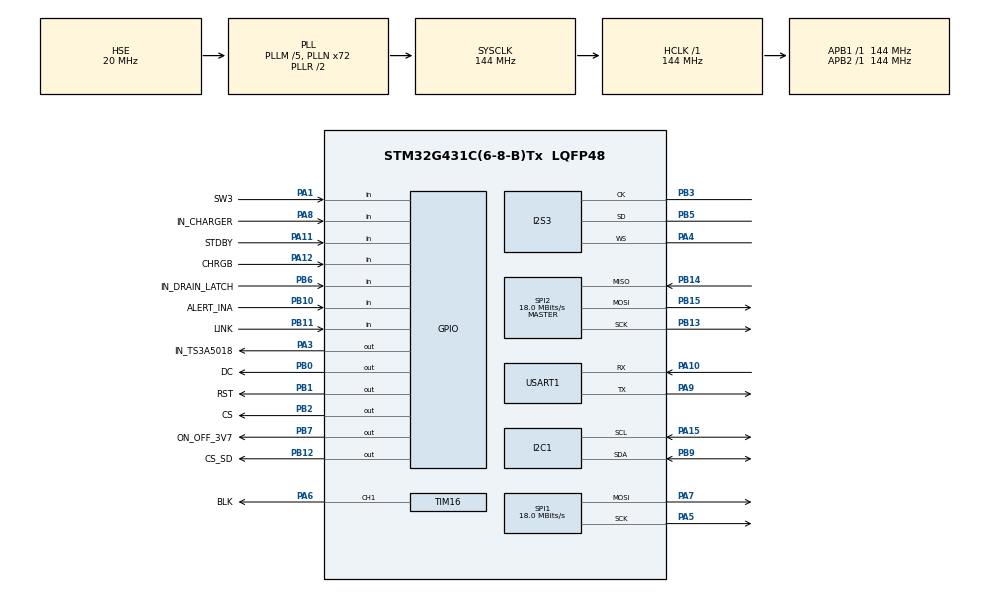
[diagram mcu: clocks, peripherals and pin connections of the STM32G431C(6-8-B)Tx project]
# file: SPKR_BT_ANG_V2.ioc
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FATFS._MAX_SS=4096
FATFS._USE_LFN=1
I2C1.Timing=0x20B0D9FF
I2S3.AudioFreq=I2S_AUDIOFREQ_44K
I2S3.ErrorAudioFreq=0.26 %
I2S3.FullDuplexMode=I2S_FULLDUPLEXMODE_DISABLE
I2S3.Instance=SPI$Index
I2S3.RealAudioFreq=44.117 KHz
I2S3.VirtualMode=I2S_MODE_MASTER
Mcu.Family=STM32G4
Mcu.Name=STM32G431C(6-8-B)Tx
Mcu.Package=LQFP48
NVIC.PriorityGroup=NVIC_PRIORITYGROUP_4
PA0.Mode=SYS_WakeUp0
PA0.Signal=SYS_WKUP1
PA1.GPIO_Label=SW3
PA1.Signal=GPIO_Input
PA10.Mode=Asynchronous
PA10.Signal=USART1_RX
PA11.GPIO_Label=STDBY
PA11.Signal=GPIO_Input
PA12.GPIO_Label=CHRGB
PA12.Signal=GPIO_Input
PA13.Mode=Serial_Wire
PA13.Signal=SYS_JTMS-SWDIO
PA14.Mode=Serial_Wire
PA14.Signal=SYS_JTCK-SWCLK
PA15.Mode=I2C
PA15.Signal=I2C1_SCL
PA2.Mode=SYS_WakeUp3
PA2.Signal=SYS_WKUP4
PA3.GPIO_Label=IN_TS3A5018
PA3.Signal=GPIO_Output
PA4.Mode=Half_Duplex_Master
PA4.Signal=I2S3_WS
PA5.Mode=TX_Only_Simplex_Unidirect_Master
PA5.Signal=SPI1_SCK
PA6.GPIO_Label=BLK
PA6.Signal=S_TIM16_CH1
PA7.Mode=TX_Only_Simplex_Unidirect_Master
PA7.Signal=SPI1_MOSI
PA8.GPIO_Label=IN_CHARGER
PA8.Signal=GPIO_Input
PA9.Mode=Asynchronous
PA9.Signal=USART1_TX
PB0.GPIO_Label=DC
PB0.GPIO_Speed=GPIO_SPEED_FREQ_VERY_HIGH
PB0.Signal=GPIO_Output
PB1.GPIO_Label=RST
PB1.GPIO_Speed=GPIO_SPEED_FREQ_VERY_HIGH
PB1.Signal=GPIO_Output
PB10.GPIO_Label=ALERT_INA
PB10.GPIO_PuPd=GPIO_PULLUP
PB10.Signal=GPIO_Input
PB11.GPIO_Label=LINK
PB11.Signal=GPIO_Input
PB12.GPIO_Label=CS_SD
PB12.Signal=GPIO_Output
PB13.Mode=Full_Duplex_Master
PB13.Signal=SPI2_SCK
PB14.Mode=Full_Duplex_Master
PB14.Signal=SPI2_MISO
PB15.Mode=Full_Duplex_Master
PB15.Signal=SPI2_MOSI
PB2.GPIO_Label=CS
PB2.GPIO_Speed=GPIO_SPEED_FREQ_VERY_HIGH
PB2.PinState=GPIO_PIN_SET
PB2.Signal=GPIO_Output
PB3.Mode=Half_Duplex_Master
PB3.Signal=I2S3_CK
PB5.Mode=Half_Duplex_Master
PB5.Signal=I2S3_SD
PB6.GPIO_Label=IN_DRAIN_LATCH
PB6.Signal=GPIO_Input
PB7.GPIO_Label=ON_OFF_3V7
PB7.Signal=GPIO_Output
PB9.Mode=I2C
PB9.Signal=I2C1_SDA
PC13.Mode=SYS_WakeUp1
PC13.Signal=SYS_WKUP2
PF0-OSC_IN.Mode=HSE-External-Oscillator
PF0-OSC_IN.Signal=RCC_OSC_IN
PF1-OSC_OUT.Mode=HSE-External-Oscillator
PF1-OSC_OUT.Signal=RCC_OSC_OUT
ProjectManager.HeapSize=0x200
ProjectManager.StackSize=0x400
ProjectManager.TargetToolchain=STM32CubeIDE
RCC.ADC12Freq_Value=144000000
RCC.AHBFreq_Value=144000000
RCC.APB1Freq_Value=144000000
RCC.APB1TimFreq_Value=144000000
RCC.APB2Freq_Value=144000000
RCC.APB2TimFreq_Value=144000000
RCC.CortexFreq_Value=144000000
RCC.EXTERNAL_CLOCK_VALUE=12288000
RCC.HCLKFreq_Value=144000000
RCC.HSE_VALUE=20000000
RCC.HSI48_VALUE=48000000
RCC.HSI_VALUE=16000000
RCC.LSE_VALUE=32768
RCC.PLLM=RCC_PLLM_DIV5
RCC.PLLN=72
RCC.PLLSourceVirtual=RCC_PLLSOURCE_HSE
RCC.SYSCLKFreq_VALUE=144000000
RCC.SYSCLKSource=RCC_SYSCLKSOURCE_PLLCLK
RCC.USBFreq_Value=144000000
RCC.VCOOutputFreq_Value=288000000
SH.S_TIM16_CH1.0=TIM16_CH1,PWM Generation1 CH1
SPI1.BaudRatePrescaler=SPI_BAUDRATEPRESCALER_8
SPI1.CLKPhase=SPI_PHASE_2EDGE
SPI1.CLKPolarity=SPI_POLARITY_HIGH
SPI1.CalculateBaudRate=18.0 MBits/s
SPI1.DataSize=SPI_DATASIZE_8BIT
SPI1.Direction=SPI_DIRECTION_2LINES
SPI1.Mode=SPI_MODE_MASTER
SPI1.VirtualType=VM_MASTER
SPI2.BaudRatePrescaler=SPI_BAUDRATEPRESCALER_8
SPI2.CalculateBaudRate=18.0 MBits/s
SPI2.DataSize=SPI_DATASIZE_8BIT
SPI2.Direction=SPI_DIRECTION_2LINES
SPI2.Mode=SPI_MODE_MASTER
SPI2.VirtualType=VM_MASTER
TIM16.Channel=TIM_CHANNEL_1
TIM16.Prescaler=170-1
USART1.VirtualMode-Asynchronous=VM_ASYNC
VP_FATFS_VS_Generic.Mode=User_defined
VP_TIM16_VS_ClockSourceINT.Mode=Enable_Timer
board=custom

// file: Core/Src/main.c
/* USER CODE BEGIN Header */
/**
  ******************************************************************************
  * @file           : main.c
  * @brief          : Main program body
  ******************************************************************************
  * @attention
  *
  * Copyright (c) 2024 STMicroelectronics.
  * All rights reserved.
  *
  * This software is licensed under terms that can be found in the LICENSE file
  * in the root directory of this software component.
  * If no LICENSE file comes with this software, it is provided AS-IS.
  *
  ******************************************************************************
  */
/* USER CODE END Header */
#include "main.h"
#include "app_fatfs.h"

/* USER CODE BEGIN Includes */
#include "stdio.h"
#include "Anglas_ST7789.h"
#include "fonts.h"
#include "math.h"
#include "bitmap.h"

#include "Anglas_MAX17048.h"
#include "Anglas_INA226.h"

#include "testimg.h"
#include "fatfs_sd.h"
/* USER CODE END Includes */

I2C_HandleTypeDef hi2c1;

I2S_HandleTypeDef hi2s3;

SPI_HandleTypeDef hspi1;
SPI_HandleTypeDef hspi2;

TIM_HandleTypeDef htim16;

UART_HandleTypeDef huart1;

/* USER CODE BEGIN PV */
uint16_t contInt=0;
float contFloat=0.0;
char buff[64];
uint16_t freq_BLK = 5000;//5khz

float soc, voltage_pwrbank, current_pwrbank, voltage_bat;

/* USER CODE END PV */

void SystemClock_Config(void);
static void MX_GPIO_Init(void);
static void MX_I2C1_Init(void);
static void MX_SPI1_Init(void);
static void MX_TIM16_Init(void);
static void MX_SPI2_Init(void);
static void MX_I2S3_Init(void);
static void MX_USART1_UART_Init(void);
/* USER CODE BEGIN PFP */
void PWM_set_Freq_DutyCycle(uint16_t freq, uint8_t duty);

/* USER CODE END PFP */

/* USER CODE BEGIN 0 */
FATFS fs;  // file system
FIL file; // File
FILINFO fno;
FRESULT fresult;  // result
UINT br, bw;  // File read/write count

/**** capacity related *****/
FATFS *pfs;
DWORD fre_clust;
uint32_t total, free_space;
char buffer[100];
uint16_t farbe;

#define SPIbuffSize 264
#define BUFFER_SIZE 1032
#define BITMAP_HEADER_SIZE sizeof(BmpHeader)
#define MIN(a, b) (((a)<(b))?(a): (b))

int displayImage(const char* fname) {
    FIL file;
    FRESULT res = f_open(&file, fname, FA_READ);
    if(res != FR_OK) {
    	ST7789_print(0, 0, RGB565(0, 0, 255) , RGB565(255, 255, 255) , 1, &Font_11x18, 1, "f_open() failed");
        return -1;
    }

    //ST7789_print(0, 20, RGB565(0, 0, 255) , RGB565(255, 255, 255) , 1, &Font_11x18, 1, "File opened, reading...");

    unsigned int bytesRead;
    uint8_t header[34];
    res = f_read(&file, header, sizeof(header), &bytesRead);
    if(res != FR_OK) {
    	 ST7789_print(0, 40, RGB565(0, 0, 255) , RGB565(255, 255, 255) , 1, &Font_11x18, 1, "f_read() failed");
        f_close(&file);
        return -2;
    }

    if((header[0] != 0x42) || (header[1] != 0x4D)) {
    	ST7789_print(0, 60, RGB565(0, 0, 255) , RGB565(255, 255, 255) , 1, &Font_11x18, 1, "Wrong BMP signature: 0x%02X 0x%02X");
        f_close(&file);
        return -3;
    }

    uint32_t imageOffset = header[10] | (header[11] << 8) | (header[12] << 16) | (header[13] << 24);
    uint32_t imageWidth = header[18] | (header[19] << 8) | (header[20] << 16) | (header[21] << 24);
    uint32_t imageHeight = header[22] | (header[23] << 8) | (header[24] << 16) | (header[25] << 24);
    uint16_t imagePlanes = header[26] | (header[27] << 8);
    uint16_t imageBitsPerPixel = header[28] | (header[29] << 8);
    uint32_t imageCompression = header[30] | (header[31] << 8) | (header[32] << 16) | (header[33] << 24);

    //snprintf(buff, sizeof(buff), "Pixels offset: %lu\r\n ", imageOffset);
    //ST7789_print(0, 50, RGB565(0, 0, 255) , RGB565(255, 255, 255) , 1, &Font_11x18, 1, buff);
    //snprintf(buff, sizeof(buff), "WxH: %lux%lu\r\n ", imageWidth, imageHeight);
    //ST7789_print(0, 70, RGB565(0, 0, 255) , RGB565(255, 255, 255) , 1, &Font_11x18, 1, buff);
    //snprintf(buff, sizeof(buff), "Planes: %d\r\n ", imagePlanes);
    //ST7789_print(0, 90, RGB565(0, 0, 255) , RGB565(255, 255, 255) , 1, &Font_11x18, 1, buff);
    //snprintf(buff, sizeof(buff), "Bits per pixel: %d\r\n ", imageBitsPerPixel);
    //ST7789_print(0, 110, RGB565(0, 0, 255) , RGB565(255, 255, 255) , 1, &Font_11x18, 1, buff);
    //snprintf(buff, sizeof(buff), "Compression: %lu\r\n ", imageCompression);
    //ST7789_print(0, 130, RGB565(0, 0, 255) , RGB565(255, 255, 255) , 1, &Font_11x18, 1, buff);

    if((imageWidth != ST7789_HEIGHT) || (imageHeight != ST7789_WIDTH)) {
    	//UART_Printf("Wrong BMP size, %dx%d expected\r\n", ST7735_WIDTH, ST7735_HEIGHT);
    	ST7789_print(0, 60, RGB565(0, 0, 255) , RGB565(255, 255, 255) , 1, &Font_11x18, 1, "Wrong BMP size, %dx%d expected");
        f_close(&file);
        return -4;
    }

    if((imagePlanes != 1) || (imageBitsPerPixel != 24) || (imageCompression != 0)) {
    	ST7789_print(0, 60, RGB565(0, 0, 255) , RGB565(255, 255, 255) , 1, &Font_11x18, 1, "Wrong BMP size, %dx%d expected");
        f_close(&file);
        return -5;
    }

    res = f_lseek(&file, imageOffset);
    if(res != FR_OK) {
        snprintf(buff, sizeof(buff), "f_lseek() failed, res = %d\r\n ", res);
        //ST7789_print(0, 60, RGB565(0, 0, 255) , RGB565(255, 255, 255) , 1, &Font_11x18, 1, buff);
        f_close(&file);
        return -6;
    }

    // row size is aligned to 4 bytes
    uint8_t imageRow[(ST7789_HEIGHT * 3 + 3) & ~3];
    for(uint32_t y = 0; y < imageHeight; y++) {
        uint32_t rowIdx = 0;
        res = f_read(&file, imageRow, sizeof(imageRow), &bytesRead);
        if(res != FR_OK) {
            snprintf(buff, sizeof(buff), "f_read() failed, res = %d\r\n", res);
            //ST7789_print(0, 60, RGB565(0, 130, 255) , RGB565(255, 255, 255) , 1, &Font_11x18, 1, buff);
            f_close(&file);
            return -7;
        }

        for(uint32_t x = 0; x < imageWidth; x++) {
            uint8_t b = imageRow[rowIdx++];
            uint8_t g = imageRow[rowIdx++];
            uint8_t r = imageRow[rowIdx++];
            ST7789_DrawPixel(x, imageHeight - y - 1, RGB565(r, g, b));
        }
    }

    res = f_close(&file);
    if(res != FR_OK) {
    	//UART_Printf("f_close() failed, res = %d\r\n", res);
        snprintf(buff, sizeof(buff), "f_close() failed, res = %d\r\n", res);
        //ST7789_print(0, 60, RGB565(0, 130, 255) , RGB565(255, 255, 255) , 1, &Font_11x18, 1, buff);
        return -8;
    }

    return 0;
}

void displayRandomImage(uint32_t seed) {
    char filename[10];  // Buffer para el nombre del archivo
    srand(seed);  // Inicializa rand() con una semilla mejorada
    int imageNumber = (rand() % 30) + 1; // Genera número aleatorio entre 1 y 30
    snprintf(filename, sizeof(filename), "%d.bmp", imageNumber); // Genera el nombre del archivo
    displayImage(filename); // Muestra la imagen en el ST7789
}

/* USER CODE END 0 */

int main(void)
{

  /* MCU Configuration--------------------------------------------------------*/

  /* Reset of all peripherals, Initializes the Flash interface and the Systick. */
  HAL_Init();

  /* Configure the system clock */
  SystemClock_Config();

  /* Initialize all configured peripherals */
  MX_GPIO_Init();
  MX_I2C1_Init();
  MX_SPI1_Init();
  MX_TIM16_Init();
  MX_SPI2_Init();
  MX_I2S3_Init();
  MX_USART1_UART_Init();
  if (MX_FATFS_Init() != APP_OK) {
    Error_Handler();
  }
  /* USER CODE BEGIN 2 */

  /*
  PWM_set_Freq_DutyCycle(freq_BLK,0);//iniciar pantalla negra
  ST7789_Init();
  ST7789_rotation(4);
  PWM_set_Freq_DutyCycle(freq_BLK,100);
  ST7789_FillScreen(ST7789_BLACK);

  MAX17048_Init();
  //MAX17048_QuickStart();
  MAX17048_SetAlertThreshold(1);

  INA226_Init(3.2768,25,AVG_4,T_Vbus_8_244ms,T_Vshunt_8_244ms,MODE_SHUNT_BUS_CONTINUOUS);
  INA226_Mode_pinAlert(SHUNT_VOLTAGE_OVER);//superar la CORRIENTE de
  INA226_Alert_Limit(900);//escribo el umbral para activar el pin alert

  //Verificar micro SD
  FRESULT res = f_mount(&fs, "", 0);
  if(res != FR_OK) {
      //UART_Printf("f_mount() failed, res = %d\r\n", res);
      snprintf(buff, sizeof(buff), "f_mount() failed, res = %d\r\n", res);
      ST7789_print(0, 150, RGB565(0, 130, 255) , RGB565(255, 255, 255) , 1, &Font_11x18, 1, buff);
      return -2;
  }
  //ST7789_print(0, 150, RGB565(0, 130, 255) , RGB565(255, 255, 255) , 1, &Font_11x18, 1, "f_mount() done!\r\n");
  */

  /******************** PARA USAR LOS TRES SYS_WKUP **********************************/

  // Verifica si el sistema reanudó desde Standby Mode
  if (__HAL_PWR_GET_FLAG(PWR_FLAG_SB) != RESET) {
      __HAL_PWR_CLEAR_FLAG(PWR_FLAG_SB); // Limpia la bandera

      /************************************* SYS_WKUP1 ***********************************************/
      //Esto hace cuando se presiona el pulsador del SYS_WKUP1 (necesita si o si resistencia PULL-DOWN)
      if (HAL_GPIO_ReadPin(GPIOA, GPIO_PIN_0) == 1) {//FUNCION 1, si presionamos SYS_WKUP1

    	  if (HAL_GPIO_ReadPin(IN_DRAIN_LATCH_GPIO_Port, IN_DRAIN_LATCH_Pin) == 0){//si no hay 3.7V en esta entrada IN_DRAIN_LATCH, entonces enciende el parlante
    		  //Inicializa la micro SD
    		  FRESULT res = f_mount(&fs, "", 0);
        	  if(res != FR_OK) {
        	      snprintf(buff, sizeof(buff), "f_mount() failed, res = %d\r\n", res);
        	      ST7789_print(0, 150, RGB565(0, 130, 255) , RGB565(255, 255, 255) , 1, &Font_11x18, 1, buff);
        	      return -2;
        	  }

    		  PWM_set_Freq_DutyCycle(freq_BLK,0);//pantalla apagada
    		  HAL_GPIO_WritePin(ON_OFF_3V7_GPIO_Port, ON_OFF_3V7_Pin, 1);//Encender parlante
    		  PWM_set_Freq_DutyCycle(freq_BLK,0);//iniciar pantalla negra
			  ST7789_Init();
			  ST7789_rotation(4);
			  PWM_set_Freq_DutyCycle(freq_BLK,100);
			  MAX17048_Init();
			  MAX17048_QuickStart();
			  MAX17048_SetAlertThreshold(1);
			  INA226_Init(3.2768,25,AVG_4,T_Vbus_8_244ms,T_Vshunt_8_244ms,MODE_SHUNT_BUS_CONTINUOUS);
			  INA226_Mode_pinAlert(SHUNT_VOLTAGE_OVER);
			  INA226_Alert_Limit(1500);

			  voltage_bat = MAX17048_GetVoltage();
			  voltage_pwrbank = INA226_Vbus();

			  displayRandomImage(voltage_bat*voltage_bat*voltage_pwrbank*voltage_pwrbank);
			  HAL_Delay(4000);

    	  }else{//si hay 3.7V en la entrada IN_DRAIN_LATCH, entonces esta encendido el parlante, y con las lineas de abajo lo apago
    		  HAL_GPIO_WritePin(ON_OFF_3V7_GPIO_Port, ON_OFF_3V7_Pin, 0);//Apagar parlante
			  MAX17048_SetAlertThreshold(1);//al colocar pone a 0 el pin alert y esto hace que consuma unos mA menos
			  HAL_Delay(2000);//tiempo para apagar luego de encender o viceversa
    	  }

      }

      /************************************* SYS_WKUP2 ***********************************************/
      //Esto hace cuando se presiona el pulsador del SYS_WKUP2 (necesita si o si resistencia PULL-DOWN)
      if (HAL_GPIO_ReadPin(GPIOC, GPIO_PIN_13) == 1) {//FUNCION 2, si presionamos SYS_WKUP2

    	  //Inicia SD CARD
    	  FRESULT res = f_mount(&fs, "", 0);
    	  if(res != FR_OK) {
    	      snprintf(buff, sizeof(buff), "f_mount() failed, res = %d\r\n", res);
    	      ST7789_print(0, 150, RGB565(0, 130, 255) , RGB565(255, 255, 255) , 1, &Font_11x18, 1, buff);
    	      return -2;
    	  }

    	  PWM_set_Freq_DutyCycle(freq_BLK,0);//iniciar pantalla negra

    	  //verifica si esta encendido lo mantiene asi y si esta apagado lo mantiene apagado
    	  if (HAL_GPIO_ReadPin(IN_DRAIN_LATCH_GPIO_Port, IN_DRAIN_LATCH_Pin) == 0){
    		  HAL_GPIO_WritePin(ON_OFF_3V7_GPIO_Port, ON_OFF_3V7_Pin, 0);//mantiene apagado
    	  }else{
    		  HAL_GPIO_WritePin(ON_OFF_3V7_GPIO_Port, ON_OFF_3V7_Pin, 1);//mantiene encendido
    	  }

    	  PWM_set_Freq_DutyCycle(freq_BLK,0);//iniciar pantalla negra
    	  ST7789_Init();
    	  ST7789_rotation(4);
    	  PWM_set_Freq_DutyCycle(freq_BLK,100);
    	  ST7789_FillScreen(ST7789_BLACK);
    	  MAX17048_Init();
    	  MAX17048_QuickStart();
    	  MAX17048_SetAlertThreshold(1);
		  INA226_Init(3.2768,25,AVG_4,T_Vbus_8_244ms,T_Vshunt_8_244ms,MODE_SHUNT_BUS_CONTINUOUS);
		  INA226_Mode_pinAlert(SHUNT_VOLTAGE_OVER);
		  INA226_Alert_Limit(1500);

		  soc = MAX17048_GetSoc();//leer una vez, aqui lee 2% o algo asi porq anteriormente hubo consumo de mA ya sea de powerbank o altavoces
		  HAL_Delay(500);//esperar para que el voltaje no de 2% porq se activo anteriormente el powerbank

		  soc = MAX17048_GetSoc();//aqui se estabilizar y lee bien luego de ese delay anterior
		  sprintf(buff,"%3i%%",(uint8_t)soc);
		  ST7789_print(100, 0, RGB565(0, 255, 0) , RGB565(0, 0, 0) , 1, &Font_16x28, 2, buff);

		  voltage_bat = MAX17048_GetVoltage();
		  //HAL_Delay(400);//esperar para que el voltaje no de 2% porq se activo anteriormente el powerbank

		  voltage_bat = MAX17048_GetVoltage();
		  sprintf(buff,"VOLTAGE: %1.2fV",voltage_bat);
		  ST7789_print(5, 60, RGB565(0, 0, 255) , RGB565(0, 0, 0) , 1, &Font_11x18, 2, buff);

		  voltage_pwrbank = INA226_Vbus();
		  sprintf(buff,"%2.1fV",voltage_pwrbank);
		  ST7789_print(50, 100, RGB565(255, 255, 255) , RGB565(0, 0, 0) , 1, &Font_11x18, 2, buff);

		  current_pwrbank = INA226_Current();
		  sprintf(buff,"%4.0fmA",current_pwrbank);
		  ST7789_print(140, 100, RGB565(255, 0, 255) , RGB565(0, 0, 0) , 1, &Font_11x18, 2, buff);
		  HAL_Delay(2000);

		  displayRandomImage(voltage_bat*voltage_bat*voltage_pwrbank*voltage_pwrbank);
    	  HAL_Delay(4000);

    	  PWM_set_Freq_DutyCycle(freq_BLK,0);//pantalla apagada
    	  HAL_TIM_PWM_Stop(&htim16, TIM_CHANNEL_1);
    	  ST7789_SleepModeEnter();
      }

      /*
      //Esto hace cuando se presiona el pulsador del SYS_WKUP4
      if (HAL_GPIO_ReadPin(GPIOA, GPIO_PIN_2) == 1) {//FUNCION 3
    	  //verifica si esta encendido lo mantiene asi y si esta apagado lo mantiene apagado
    	  if (HAL_GPIO_ReadPin(IN_DRAIN_LATCH_GPIO_Port, IN_DRAIN_LATCH_Pin) == 0){
    		  HAL_GPIO_WritePin(ON_OFF_3V7_GPIO_Port, ON_OFF_3V7_Pin, 0);
    	  }else{
    		  HAL_GPIO_WritePin(ON_OFF_3V7_GPIO_Port, ON_OFF_3V7_Pin, 1);
    	  }

    	  PWM_set_Freq_DutyCycle(freq_BLK,0);//iniciar pantalla negra
		  ST7789_Init();
		  ST7789_rotation(4);
		  PWM_set_Freq_DutyCycle(freq_BLK,100);
		  ST7789_FillScreen(ST7789_BLACK);
		  MAX17048_Init();
		  MAX17048_SetAlertThreshold(1);
		  INA226_Init(3.2768,25,AVG_4,T_Vbus_8_244ms,T_Vshunt_8_244ms,MODE_SHUNT_BUS_CONTINUOUS);
		  INA226_Mode_pinAlert(SHUNT_VOLTAGE_OVER);
		  INA226_Alert_Limit(1500);

		  voltage_pwrbank = INA226_Vbus();
		  sprintf(buff,"%2.1fV",voltage_pwrbank);
		  ST7789_print(70, 20, RGB565(0, 255, 0) , RGB565(0, 0, 0) , 1, &Font_11x18, 4, buff);

		  current_pwrbank = INA226_Current();
		  sprintf(buff,"%4.0fmA",current_pwrbank);
		  ST7789_print(20, 115, RGB565(255, 0, 255) , RGB565(0, 0, 0) , 1, &Font_11x18, 3, buff);

		  HAL_Delay(2000);
		  PWM_set_Freq_DutyCycle(freq_BLK,0);//pantalla apagada
		  HAL_TIM_PWM_Stop(&htim16, TIM_CHANNEL_1);
		  ST7789_SleepModeEnter();
	  }
	  */

      HAL_PWR_DisableWakeUpPin(PWR_WAKEUP_PIN1);// Desactiva el Wake-Up Pin1
      HAL_PWR_DisableWakeUpPin(PWR_WAKEUP_PIN2);// Desactiva el Wake-Up Pin2
      //HAL_PWR_DisableWakeUpPin(PWR_WAKEUP_PIN4);// Desactiva el Wake-Up Pin4

  }//end if (__HAL_PWR_GET_FLAG(PWR_FLAG_SB) != RESET)

    __HAL_PWR_CLEAR_FLAG(PWR_FLAG_WU);//AHORA RECIEN VAMOS A INGRESAR AL STANDBY MODE
    HAL_PWR_EnableWakeUpPin(PWR_WAKEUP_PIN1);//habilitamos el Wake-Up Pin1
    HAL_PWR_EnableWakeUpPin(PWR_WAKEUP_PIN2);//habilitamos el Wake-Up Pin2
    //HAL_PWR_EnableWakeUpPin(PWR_WAKEUP_PIN4);//habilitamos el Wake-Up Pin4
    HAL_PWR_EnterSTANDBYMode();//FINALMENTE INGRESAMOS AL STANDBY MODE

  /* USER CODE END 2 */

  /* Infinite loop */
  /* USER CODE BEGIN WHILE */
  while (1)
  {
	  /*voltage_bat = MAX17048_GetVoltage();
	  sprintf(buff,"VOLTAGE: %1.2fV",voltage_bat);
	  ST7789_print(40, 50, RGB565(0, 255, 0) , RGB565(0, 0, 0) , 1, &Font_11x18, 1, buff);

	  soc = MAX17048_GetSoc();
	  sprintf(buff,"%3i%%",(uint8_t)soc);
	  ST7789_print(140, 5, RGB565(0, 0, 255) , RGB565(255, 255, 255) , 1, &Font_16x28, 1, buff);*/

	  /*
	  voltage = INA226_Vbus();
	  sprintf(buff,"%2.1fV",voltage);
	  ST7789_print(70, 20, RGB565(0, 0, 255) , RGB565(0, 0, 0) , 1, &Font_11x18, 4, buff);

	  current = INA226_Current();
	  sprintf(buff,"%4.0fmA",current);
	  ST7789_print(20, 115, RGB565(255, 0, 255) , RGB565(0, 0, 0) , 1, &Font_11x18, 3, buff);

	  if(HAL_GPIO_ReadPin(ALERT_INA_GPIO_Port, ALERT_INA_Pin) == 1){
		  ST7789_print(280, 115, RGB565(255, 0, 255) , RGB565(0, 0, 0) , 1, &Font_11x18, 1, "ON ");
	  }else{
		  ST7789_print(280, 115, RGB565(255, 0, 255) , RGB565(0, 0, 0) , 1, &Font_11x18, 1, "OFF");
	  }
	  */

	  //la imagen tiene que ser horizontal, en 320x170
	  //primero convertir a esa resolucion 320x170 en png o jpg
	  //Luego editar con paint  y guardar en archivo bmp 24bits (Mapa de bits de 24bits .bmp)

	  //displayImage("1.bmp");
	  //displayImage("2.bmp");
	  //displayImage("3.bmp");
	  //displayImage("4.bmp");
	  //displayImage("5.bmp");

	  /*
	  soc = MAX17048_GetSoc();
	  sprintf(buff,"%3i%%",(uint8_t)soc);
	  ST7789_print(100, 20, RGB565(0, 0, 255) , RGB565(0, 0, 0) , 0, &Font_16x28, 2, buff);

	  voltage = MAX17048_GetVoltage();
	  sprintf(buff,"VOLTAGE: %1.2fV",voltage);
	  ST7789_print(5, 100, RGB565(0, 255, 0) , RGB565(0, 0, 0) , 0, &Font_11x18, 2, buff);
	  HAL_Delay(2000);
	  displayImage("2.bmp");
	  HAL_Delay(2000);
	  */

    /* USER CODE END WHILE */

  }
}

void SystemClock_Config(void)
{
  RCC_OscInitTypeDef RCC_OscInitStruct = {0};
  RCC_ClkInitTypeDef RCC_ClkInitStruct = {0};

  /** Configure the main internal regulator output voltage
  */
  HAL_PWREx_ControlVoltageScaling(PWR_REGULATOR_VOLTAGE_SCALE1);

  /** Initializes the RCC Oscillators according to the specified parameters
  * in the RCC_OscInitTypeDef structure.
  */
  RCC_OscInitStruct.OscillatorType = RCC_OSCILLATORTYPE_HSE;
  RCC_OscInitStruct.HSEState = RCC_HSE_ON;
  RCC_OscInitStruct.PLL.PLLState = RCC_PLL_ON;
  RCC_OscInitStruct.PLL.PLLSource = RCC_PLLSOURCE_HSE;
  RCC_OscInitStruct.PLL.PLLM = RCC_PLLM_DIV5;
  RCC_OscInitStruct.PLL.PLLN = 72;
  RCC_OscInitStruct.PLL.PLLP = RCC_PLLP_DIV2;
  RCC_OscInitStruct.PLL.PLLQ = RCC_PLLQ_DIV2;
  RCC_OscInitStruct.PLL.PLLR = RCC_PLLR_DIV2;
  if (HAL_RCC_OscConfig(&RCC_OscInitStruct) != HAL_OK)
  {
    Error_Handler();
  }

  /** Initializes the CPU, AHB and APB buses clocks
  */
  RCC_ClkInitStruct.ClockType = RCC_CLOCKTYPE_HCLK|RCC_CLOCKTYPE_SYSCLK
                              |RCC_CLOCKTYPE_PCLK1|RCC_CLOCKTYPE_PCLK2;
  RCC_ClkInitStruct.SYSCLKSource = RCC_SYSCLKSOURCE_PLLCLK;
  RCC_ClkInitStruct.AHBCLKDivider = RCC_SYSCLK_DIV1;
  RCC_ClkInitStruct.APB1CLKDivider = RCC_HCLK_DIV1;
  RCC_ClkInitStruct.APB2CLKDivider = RCC_HCLK_DIV1;

  if (HAL_RCC_ClockConfig(&RCC_ClkInitStruct, FLASH_LATENCY_4) != HAL_OK)
  {
    Error_Handler();
  }
}

static void MX_I2C1_Init(void)
{

  hi2c1.Instance = I2C1;
  hi2c1.Init.Timing = 0x20B0D9FF;
  hi2c1.Init.OwnAddress1 = 0;
  hi2c1.Init.AddressingMode = I2C_ADDRESSINGMODE_7BIT;
  hi2c1.Init.DualAddressMode = I2C_DUALADDRESS_DISABLE;
  hi2c1.Init.OwnAddress2 = 0;
  hi2c1.Init.OwnAddress2Masks = I2C_OA2_NOMASK;
  hi2c1.Init.GeneralCallMode = I2C_GENERALCALL_DISABLE;
  hi2c1.Init.NoStretchMode = I2C_NOSTRETCH_DISABLE;
  if (HAL_I2C_Init(&hi2c1) != HAL_OK)
  {
    Error_Handler();
  }

  /** Configure Analogue filter
  */
  if (HAL_I2CEx_ConfigAnalogFilter(&hi2c1, I2C_ANALOGFILTER_ENABLE) != HAL_OK)
  {
    Error_Handler();
  }

  /** Configure Digital filter
  */
  if (HAL_I2CEx_ConfigDigitalFilter(&hi2c1, 0) != HAL_OK)
  {
    Error_Handler();
  }

}

static void MX_I2S3_Init(void)
{

  hi2s3.Instance = SPI3;
  hi2s3.Init.Mode = I2S_MODE_MASTER_TX;
  hi2s3.Init.Standard = I2S_STANDARD_PHILIPS;
  hi2s3.Init.DataFormat = I2S_DATAFORMAT_16B;
  hi2s3.Init.MCLKOutput = I2S_MCLKOUTPUT_DISABLE;
  hi2s3.Init.AudioFreq = I2S_AUDIOFREQ_44K;
  hi2s3.Init.CPOL = I2S_CPOL_LOW;
  if (HAL_I2S_Init(&hi2s3) != HAL_OK)
  {
    Error_Handler();
  }

}

static void MX_SPI1_Init(void)
{

  /* SPI1 parameter configuration*/
  hspi1.Instance = SPI1;
  hspi1.Init.Mode = SPI_MODE_MASTER;
  hspi1.Init.Direction = SPI_DIRECTION_2LINES;
  hspi1.Init.DataSize = SPI_DATASIZE_8BIT;
  hspi1.Init.CLKPolarity = SPI_POLARITY_HIGH;
  hspi1.Init.CLKPhase = SPI_PHASE_2EDGE;
  hspi1.Init.NSS = SPI_NSS_SOFT;
  hspi1.Init.BaudRatePrescaler = SPI_BAUDRATEPRESCALER_8;
  hspi1.Init.FirstBit = SPI_FIRSTBIT_MSB;
  hspi1.Init.TIMode = SPI_TIMODE_DISABLE;
  hspi1.Init.CRCCalculation = SPI_CRCCALCULATION_DISABLE;
  hspi1.Init.CRCPolynomial = 7;
  hspi1.Init.CRCLength = SPI_CRC_LENGTH_DATASIZE;
  hspi1.Init.NSSPMode = SPI_NSS_PULSE_DISABLE;
  if (HAL_SPI_Init(&hspi1) != HAL_OK)
  {
    Error_Handler();
  }

}

static void MX_SPI2_Init(void)
{

  /* SPI2 parameter configuration*/
  hspi2.Instance = SPI2;
  hspi2.Init.Mode = SPI_MODE_MASTER;
  hspi2.Init.Direction = SPI_DIRECTION_2LINES;
  hspi2.Init.DataSize = SPI_DATASIZE_8BIT;
  hspi2.Init.CLKPolarity = SPI_POLARITY_LOW;
  hspi2.Init.CLKPhase = SPI_PHASE_1EDGE;
  hspi2.Init.NSS = SPI_NSS_SOFT;
  hspi2.Init.BaudRatePrescaler = SPI_BAUDRATEPRESCALER_8;
  hspi2.Init.FirstBit = SPI_FIRSTBIT_MSB;
  hspi2.Init.TIMode = SPI_TIMODE_DISABLE;
  hspi2.Init.CRCCalculation = SPI_CRCCALCULATION_DISABLE;
  hspi2.Init.CRCPolynomial = 7;
  hspi2.Init.CRCLength = SPI_CRC_LENGTH_DATASIZE;
  hspi2.Init.NSSPMode = SPI_NSS_PULSE_ENABLE;
  if (HAL_SPI_Init(&hspi2) != HAL_OK)
  {
    Error_Handler();
  }

}

static void MX_TIM16_Init(void)
{

  TIM_OC_InitTypeDef sConfigOC = {0};
  TIM_BreakDeadTimeConfigTypeDef sBreakDeadTimeConfig = {0};

  htim16.Instance = TIM16;
  htim16.Init.Prescaler = 170-1;
  htim16.Init.CounterMode = TIM_COUNTERMODE_UP;
  htim16.Init.Period = 65535;
  htim16.Init.ClockDivision = TIM_CLOCKDIVISION_DIV1;
  htim16.Init.RepetitionCounter = 0;
  htim16.Init.AutoReloadPreload = TIM_AUTORELOAD_PRELOAD_DISABLE;
  if (HAL_TIM_Base_Init(&htim16) != HAL_OK)
  {
    Error_Handler();
  }
  if (HAL_TIM_PWM_Init(&htim16) != HAL_OK)
  {
    Error_Handler();
  }
  sConfigOC.OCMode = TIM_OCMODE_PWM1;
  sConfigOC.Pulse = 0;
  sConfigOC.OCPolarity = TIM_OCPOLARITY_HIGH;
  sConfigOC.OCNPolarity = TIM_OCNPOLARITY_HIGH;
  sConfigOC.OCFastMode = TIM_OCFAST_DISABLE;
  sConfigOC.OCIdleState = TIM_OCIDLESTATE_RESET;
  sConfigOC.OCNIdleState = TIM_OCNIDLESTATE_RESET;
  if (HAL_TIM_PWM_ConfigChannel(&htim16, &sConfigOC, TIM_CHANNEL_1) != HAL_OK)
  {
    Error_Handler();
  }
  sBreakDeadTimeConfig.OffStateRunMode = TIM_OSSR_DISABLE;
  sBreakDeadTimeConfig.OffStateIDLEMode = TIM_OSSI_DISABLE;
  sBreakDeadTimeConfig.LockLevel = TIM_LOCKLEVEL_OFF;
  sBreakDeadTimeConfig.DeadTime = 0;
  sBreakDeadTimeConfig.BreakState = TIM_BREAK_DISABLE;
  sBreakDeadTimeConfig.BreakPolarity = TIM_BREAKPOLARITY_HIGH;
  sBreakDeadTimeConfig.BreakFilter = 0;
  sBreakDeadTimeConfig.AutomaticOutput = TIM_AUTOMATICOUTPUT_DISABLE;
  if (HAL_TIMEx_ConfigBreakDeadTime(&htim16, &sBreakDeadTimeConfig) != HAL_OK)
  {
    Error_Handler();
  }
  HAL_TIM_MspPostInit(&htim16);

}

static void MX_USART1_UART_Init(void)
{

  huart1.Instance = USART1;
  huart1.Init.BaudRate = 115200;
  huart1.Init.WordLength = UART_WORDLENGTH_8B;
  huart1.Init.StopBits = UART_STOPBITS_1;
  huart1.Init.Parity = UART_PARITY_NONE;
  huart1.Init.Mode = UART_MODE_TX_RX;
  huart1.Init.HwFlowCtl = UART_HWCONTROL_NONE;
  huart1.Init.OverSampling = UART_OVERSAMPLING_16;
  huart1.Init.OneBitSampling = UART_ONE_BIT_SAMPLE_DISABLE;
  huart1.Init.ClockPrescaler = UART_PRESCALER_DIV1;
  huart1.AdvancedInit.AdvFeatureInit = UART_ADVFEATURE_NO_INIT;
  if (HAL_UART_Init(&huart1) != HAL_OK)
  {
    Error_Handler();
  }
  if (HAL_UARTEx_SetTxFifoThreshold(&huart1, UART_TXFIFO_THRESHOLD_1_8) != HAL_OK)
  {
    Error_Handler();
  }
  if (HAL_UARTEx_SetRxFifoThreshold(&huart1, UART_RXFIFO_THRESHOLD_1_8) != HAL_OK)
  {
    Error_Handler();
  }
  if (HAL_UARTEx_DisableFifoMode(&huart1) != HAL_OK)
  {
    Error_Handler();
  }

}

static void MX_GPIO_Init(void)
{
  GPIO_InitTypeDef GPIO_InitStruct = {0};

  /* GPIO Ports Clock Enable */
  __HAL_RCC_GPIOC_CLK_ENABLE();
  __HAL_RCC_GPIOF_CLK_ENABLE();
  __HAL_RCC_GPIOA_CLK_ENABLE();
  __HAL_RCC_GPIOB_CLK_ENABLE();

  /*Configure GPIO pin Output Level */
  HAL_GPIO_WritePin(IN_TS3A5018_GPIO_Port, IN_TS3A5018_Pin, GPIO_PIN_RESET);

  /*Configure GPIO pin Output Level */
  HAL_GPIO_WritePin(GPIOB, DC_Pin|RST_Pin|CS_SD_Pin|ON_OFF_3V7_Pin, GPIO_PIN_RESET);

  /*Configure GPIO pin Output Level */
  HAL_GPIO_WritePin(CS_GPIO_Port, CS_Pin, GPIO_PIN_SET);

  /*Configure GPIO pins : SW3_Pin IN_CHARGER_Pin STDBY_Pin CHRGB_Pin */
  GPIO_InitStruct.Pin = SW3_Pin|IN_CHARGER_Pin|STDBY_Pin|CHRGB_Pin;
  GPIO_InitStruct.Mode = GPIO_MODE_INPUT;
  GPIO_InitStruct.Pull = GPIO_NOPULL;
  HAL_GPIO_Init(GPIOA, &GPIO_InitStruct);

  /*Configure GPIO pin : IN_TS3A5018_Pin */
  GPIO_InitStruct.Pin = IN_TS3A5018_Pin;
  GPIO_InitStruct.Mode = GPIO_MODE_OUTPUT_PP;
  GPIO_InitStruct.Pull = GPIO_NOPULL;
  GPIO_InitStruct.Speed = GPIO_SPEED_FREQ_LOW;
  HAL_GPIO_Init(IN_TS3A5018_GPIO_Port, &GPIO_InitStruct);

  /*Configure GPIO pins : DC_Pin RST_Pin CS_Pin */
  GPIO_InitStruct.Pin = DC_Pin|RST_Pin|CS_Pin;
  GPIO_InitStruct.Mode = GPIO_MODE_OUTPUT_PP;
  GPIO_InitStruct.Pull = GPIO_NOPULL;
  GPIO_InitStruct.Speed = GPIO_SPEED_FREQ_VERY_HIGH;
  HAL_GPIO_Init(GPIOB, &GPIO_InitStruct);

  /*Configure GPIO pin : ALERT_INA_Pin */
  GPIO_InitStruct.Pin = ALERT_INA_Pin;
  GPIO_InitStruct.Mode = GPIO_MODE_INPUT;
  GPIO_InitStruct.Pull = GPIO_PULLUP;
  HAL_GPIO_Init(ALERT_INA_GPIO_Port, &GPIO_InitStruct);

  /*Configure GPIO pins : LINK_Pin IN_DRAIN_LATCH_Pin */
  GPIO_InitStruct.Pin = LINK_Pin|IN_DRAIN_LATCH_Pin;
  GPIO_InitStruct.Mode = GPIO_MODE_INPUT;
  GPIO_InitStruct.Pull = GPIO_NOPULL;
  HAL_GPIO_Init(GPIOB, &GPIO_InitStruct);

  /*Configure GPIO pins : CS_SD_Pin ON_OFF_3V7_Pin */
  GPIO_InitStruct.Pin = CS_SD_Pin|ON_OFF_3V7_Pin;
  GPIO_InitStruct.Mode = GPIO_MODE_OUTPUT_PP;
  GPIO_InitStruct.Pull = GPIO_NOPULL;
  GPIO_InitStruct.Speed = GPIO_SPEED_FREQ_LOW;
  HAL_GPIO_Init(GPIOB, &GPIO_InitStruct);

}

/* USER CODE BEGIN 4 */
void PWM_set_Freq_DutyCycle(uint16_t freq, uint8_t duty){
	/*
	 * La frecuencia a la que opera el uC es de 48000000Hz
	 *
	 * El prescaler PSC-16bits divide a esta frecuencia
	 * 48000000/48 = 1000000Hz = 1Mhz
	 *
	 * El CounterPeriod solo es un contador de 0 - 65535 y cuando lo establecemos en un valor digamos 10000
	 * entonces va contar de 0  a 10000 y luego se desbordara es decir reiniciara y empezara de cero otra vez hasta 10000
	 * Ahora el CounterPeriod sirve para cambiar el periodo y con esto la frecuencia T = 1 / freq
	 * 		__HAL_TIM_GET_AUTORELOAD(&htim16): Esta función devuelve el valor actual del registro ARR (Auto-Reload Register)
	 * 		del temporizador, que representa el Counter Period.
	 * */
	uint16_t valor_CCR;
	uint32_t CounterPeriod;//en microsegundos
	uint32_t freqOsc = HAL_RCC_GetHCLKFreq();//obtiene la frecuencia del OSC en Hz (48000000)
	uint16_t prescaler = 170;//PSC-16bits

	if(duty > 100) duty = 100;
	CounterPeriod = freqOsc/(freq*prescaler);//aqui nos da el periodo en microsegundos
	//y este periodo(CounterPeriod) necesita la funcion __HAL_TIM_SET_AUTORELOAD

    HAL_TIM_PWM_Start(&htim16, TIM_CHANNEL_1);//inicia la generacion de la señal PWM
    //modificamos el valor del CounterPeriod y con esto modificamos la frecuencia de salida
	__HAL_TIM_SET_AUTORELOAD(&htim16,CounterPeriod);//Si quiero cambiar la frecuencia modifico: __HAL_TIM_SET_AUTORELOAD(&htim16, 1000000/frecuencia que quiero) 1000000porque es microsegundos
	//CounterPeriod = __HAL_TIM_GET_AUTORELOAD(&htim16)
	//visto con un analizador logico en un 50% de duty me da 49.5% y cuando le sumo 2 me da 50.05%
	valor_CCR = (CounterPeriod + 2)* duty/100.0;//divido entre 100 porque quiero de 0 a 100%, cambiar el rango si se desea
    __HAL_TIM_SET_COMPARE(&htim16, TIM_CHANNEL_1, valor_CCR);
    //HAL_Delay(500);
    //HAL_TIM_PWM_Stop(&htim16, TIM_CHANNEL_1);//aqui detengo la generacion del PWM, pero para mi caso necesito que siempre ete activado
}

/* USER CODE END 4 */

void Error_Handler(void)
{
  __disable_irq();
  while (1)
  {
  }
}
